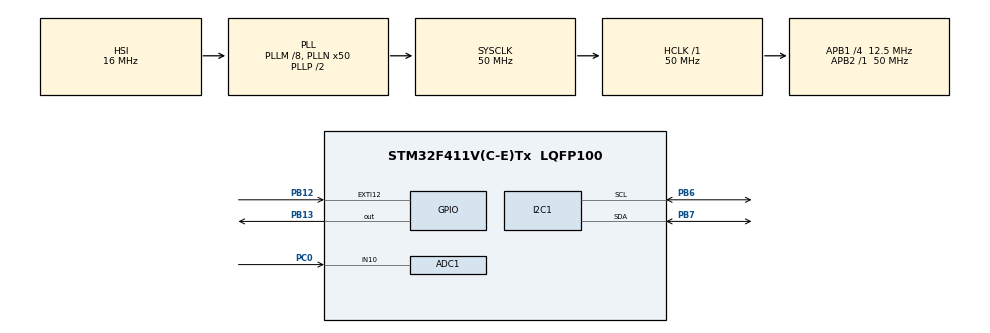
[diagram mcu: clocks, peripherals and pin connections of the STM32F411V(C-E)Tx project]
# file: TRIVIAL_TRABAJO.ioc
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ADC1.Channel-1\#ChannelRegularConversion=ADC_CHANNEL_10
ADC1.NbrOfConversionFlag=1
ADC1.Rank-1\#ChannelRegularConversion=1
ADC1.SamplingTime-1\#ChannelRegularConversion=ADC_SAMPLETIME_3CYCLES
ADC1.master=1
Dma.ADC1.0.Direction=DMA_PERIPH_TO_MEMORY
Dma.ADC1.0.FIFOMode=DMA_FIFOMODE_DISABLE
Dma.ADC1.0.Instance=DMA2_Stream0
Dma.ADC1.0.MemDataAlignment=DMA_MDATAALIGN_HALFWORD
Dma.ADC1.0.MemInc=DMA_MINC_ENABLE
Dma.ADC1.0.Mode=DMA_CIRCULAR
Dma.ADC1.0.PeriphDataAlignment=DMA_PDATAALIGN_HALFWORD
Dma.ADC1.0.PeriphInc=DMA_PINC_DISABLE
Dma.ADC1.0.Priority=DMA_PRIORITY_LOW
Dma.Request0=ADC1
Mcu.Family=STM32F4
Mcu.Name=STM32F411V(C-E)Tx
Mcu.Package=LQFP100
NVIC.DMA2_Stream0_IRQn=true\:0\:0\:false\:false\:true\:false\:true\:true
NVIC.EXTI15_10_IRQn=true\:0\:0\:false\:false\:true\:true\:true\:true
NVIC.PriorityGroup=NVIC_PRIORITYGROUP_0
PB12.Signal=GPXTI12
PB13.Signal=GPIO_Output
PB6.Mode=I2C
PB6.Signal=I2C1_SCL
PB7.Mode=I2C
PB7.Signal=I2C1_SDA
PC0.Signal=ADCx_IN10
ProjectManager.HeapSize=0x200
ProjectManager.StackSize=0x400
ProjectManager.TargetToolchain=STM32CubeIDE
RCC.48MHZClocksFreq_Value=12500000
RCC.AHBFreq_Value=50000000
RCC.APB1CLKDivider=RCC_HCLK_DIV4
RCC.APB1Freq_Value=12500000
RCC.APB1TimFreq_Value=25000000
RCC.APB2Freq_Value=50000000
RCC.APB2TimFreq_Value=50000000
RCC.CortexFreq_Value=50000000
RCC.HCLKFreq_Value=50000000
RCC.HSE_VALUE=8000000
RCC.HSI_VALUE=16000000
RCC.LSE_VALUE=32768
RCC.PLLI2SM=5
RCC.PLLI2SN=200
RCC.PLLM=8
RCC.PLLN=50
RCC.PLLQ=8
RCC.SYSCLKFreq_VALUE=50000000
RCC.SYSCLKSource=RCC_SYSCLKSOURCE_PLLCLK
RCC.VCOOutputFreq_Value=100000000
SH.ADCx_IN10.0=ADC1_IN10,IN10
board=STM32F411E-DISCO

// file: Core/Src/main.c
/* USER CODE BEGIN Header */
/**
  ******************************************************************************
  * @file           : main.c
  * @brief          : Main program body
  ******************************************************************************
  * @attention
  *
  * Copyright (c) 2026 STMicroelectronics.
  * All rights reserved.
  *
  * This software is licensed under terms that can be found in the LICENSE file
  * in the root directory of this software component.
  * If no LICENSE file comes with this software, it is provided AS-IS.
  *
  ******************************************************************************
  */
/* USER CODE END Header */
#include "main.h"
#include "adc.h"
#include "dma.h"
#include "i2c.h"
#include "gpio.h"
#include "adc_reader.h"
#include "trivial_game.h"
#include "lcd_pcf8574.h"
#include "joystick_simple.h"
#include "buzzer.h"

/* USER CODE BEGIN Includes */
#include <stdint.h>
#include <string.h>
#include <stdio.h>

/* USER CODE END Includes */

/* USER CODE BEGIN PV */
static JoystickSimple joy;
static LCD_PCF8574 lcd;
static AdcReader adc_vry;
static TrivialGame game;
static Buzzer bz;
/* USER CODE END PV */

void SystemClock_Config(void);

int main(void)
{

  /* MCU Configuration--------------------------------------------------------*/

  /* Reset of all peripherals, Initializes the Flash interface and the Systick. */
  HAL_Init();

  /* Configure the system clock */
  SystemClock_Config();

  /* Initialize all configured peripherals */
  MX_GPIO_Init();
  MX_DMA_Init();
  MX_I2C1_Init();
  MX_ADC1_Init();
  /* USER CODE BEGIN 2 */
  LCD_Init(&lcd, &hi2c1, 0x27, LCD_MAP_A);
  LCD_Backlight(&lcd, 1);

  // ADC reader
  AdcReader_Init(&adc_vry, &hadc1, ADC_CHANNEL_10, ADC_SAMPLETIME_144CYCLES);

  // Joystick simple
  JoystickSimple_Init(&joy, &hadc1, GPIOB, GPIO_PIN_12);
  //JoystickSimple_Calibrate(&joy);
  JoystickSimple_Start(&joy);

  // Juego
  Buzzer_Init(&bz, GPIOB, GPIO_PIN_13, 1);   // PB13, activo alto
  TrivialGame_Init(&game, &lcd, &joy, &bz);

  /* USER CODE END 2 */

  /* Infinite loop */
  while (1)
  {
	  TrivialGame_Update(&game);
	 	  HAL_Delay(10);
  }
}

void SystemClock_Config(void)
{
  RCC_OscInitTypeDef RCC_OscInitStruct = {0};
  RCC_ClkInitTypeDef RCC_ClkInitStruct = {0};

  /** Configure the main internal regulator output voltage
  */
  __HAL_RCC_PWR_CLK_ENABLE();
  __HAL_PWR_VOLTAGESCALING_CONFIG(PWR_REGULATOR_VOLTAGE_SCALE1);

  /** Initializes the RCC Oscillators according to the specified parameters
  * in the RCC_OscInitTypeDef structure.
  */
  RCC_OscInitStruct.OscillatorType = RCC_OSCILLATORTYPE_HSI;
  RCC_OscInitStruct.HSIState = RCC_HSI_ON;
  RCC_OscInitStruct.HSICalibrationValue = RCC_HSICALIBRATION_DEFAULT;
  RCC_OscInitStruct.PLL.PLLState = RCC_PLL_ON;
  RCC_OscInitStruct.PLL.PLLSource = RCC_PLLSOURCE_HSI;
  RCC_OscInitStruct.PLL.PLLM = 8;
  RCC_OscInitStruct.PLL.PLLN = 50;
  RCC_OscInitStruct.PLL.PLLP = RCC_PLLP_DIV2;
  RCC_OscInitStruct.PLL.PLLQ = 8;
  if (HAL_RCC_OscConfig(&RCC_OscInitStruct) != HAL_OK)
  {
    Error_Handler();
  }

  /** Initializes the CPU, AHB and APB buses clocks
  */
  RCC_ClkInitStruct.ClockType = RCC_CLOCKTYPE_HCLK|RCC_CLOCKTYPE_SYSCLK
                              |RCC_CLOCKTYPE_PCLK1|RCC_CLOCKTYPE_PCLK2;
  RCC_ClkInitStruct.SYSCLKSource = RCC_SYSCLKSOURCE_PLLCLK;
  RCC_ClkInitStruct.AHBCLKDivider = RCC_SYSCLK_DIV1;
  RCC_ClkInitStruct.APB1CLKDivider = RCC_HCLK_DIV4;
  RCC_ClkInitStruct.APB2CLKDivider = RCC_HCLK_DIV1;

  if (HAL_RCC_ClockConfig(&RCC_ClkInitStruct, FLASH_LATENCY_1) != HAL_OK)
  {
    Error_Handler();
  }
}

/* USER CODE BEGIN 4 */
#include "joystick_simple.h"

void HAL_GPIO_EXTI_Callback(uint16_t GPIO_Pin)
{
  if (GPIO_Pin == GPIO_PIN_12) {
    JoystickSimple_OnSWInterrupt();
  }
}
/* USER CODE END 4 */

void Error_Handler(void)
{
  __disable_irq();
  while (1)
  {
  }
}
